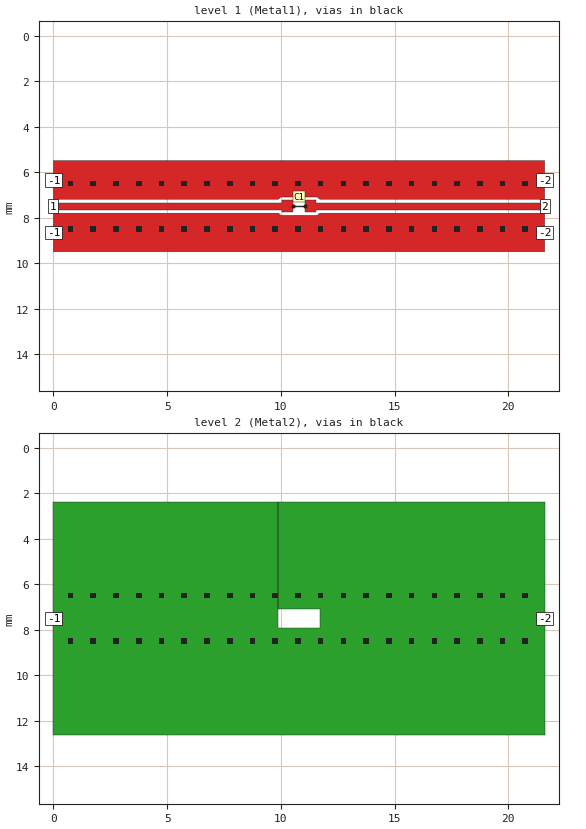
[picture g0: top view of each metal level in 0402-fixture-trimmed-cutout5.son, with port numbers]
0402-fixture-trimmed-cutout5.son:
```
FTYP SONPROJ 19 ! Sonnet Project File
VER 18.01
HEADER
LIC antikernel2.1.51012 90e2ba8817c1 havequick azonenberg Level3Gold
DAT 09/22/2021 03:41:24
BUILT_BY_CREATED dxf 17.52.2 05/01/2020 05:35:06
BUILT_BY_SAVED sonnet 18.01
MDATE 09/22/2021 03:41:24
HDATE 09/22/2021 03:41:24
ANN Created by dxfgeo, Sonnet Software Inc.
END HEADER
DIM
ANG DEG
CAP PF
CON /OH
FREQ GHZ
IND NH
LNG MM
RES OH
END DIM
CONTROL
VARSWP
OPTIONS  -dj
SPEED 1
CACHE_ABS 1
Q_ACC N
END CONTROL
GEO
SYM
DRP1 LEFT NONE 2
DRP1 RIGHT NONE 2
TMET "Free Space" 0 FREESPACE 376.7303136 0 0 0
BMET "Free Space" 0 FREESPACE 376.7303136 0 0 0
MET "Copper 1oz thick" 2 TMM 58000000 0.5 0.035 2
MET "Nickel " 3 TMM 14300000 0.5 3.5e-05 2
MET "Copper 0.5oz" 1 NOR 58000000 0.5 0.0175 
MET "Unknown_metal" 1 NOR INF 0.5 0 
MET "Copper 0.25mm thick" 4 TMM 58000000 0.5 0.25 2
MET "Brass 0.8mm" 11 TMM 15700000 0.5 0.8 2
MET "Unknown_metal" 1 VOL INF 0
BRI "Alumina (96%)" 0 9.4 0.0004 0 
BRI "Alumina (99.5%)" 0 9.9 0.0001 0 
BRI "Aluminum Nitride" 0 8.6 0.0003 0 
BRI "Arlon 25FR" 0 3.58 0.0035 0 
BRI "Arlon 25N" 0 3.38 0.0025 0 
BRI "Arlon AD5" 0 5.1 0.003 0 
BRI "Arlon AD10" 0 10.2 0.005 0 
BRI "Arlon AD250" 0 2.5 0.0018 0 
BRI "Arlon AD255A" 0 2.55 0.0015 0 
BRI "Arlon AD260A" 0 2.6 0.0018 0 
BRI "Arlon AD270" 0 2.7 0.0023 0 
BRI "Arlon AD300A" 0 3 0.002 0 
BRI "Arlon AD320A" 0 3.2 0.0032 0 
BRI "Arlon AD350A" 0 3.5 0.003 0 
BRI "Arlon AD410" 0 4.1 0.003 0 
BRI "Arlon AD430" 0 4.3 0.003 0 
BRI "Arlon AD450" 0 4.5 0.0035 0 
BRI "Arlon AD600" 0 6.15 0.003 0 
BRI "Arlon AD1000" 0 10.2 0.0023 0 
BRI "Arlon AR1000" 0 9.8 0.003 0 
BRI "Arlon CLTE" 0 2.96 0.0023 0 
BRI "Arlon CLTE-AT" 0 3 0.0013 0 
BRI "Arlon CLTE-P" 0 2.94 0.0025 0 
BRI "Arlon CLTE-XT" 0 2.94 0.0012 0 
BRI "Arlon Cu 217LX" 0 2.17 0.0009 0 
BRI "Arlon Cu 233LX" 0 2.33 0.0013 0 
BRI "Arlon Cu 250GT" 0 2.5 0.001 0 
BRI "Arlon Cu 250GX" 0 2.5 0.0018 0 
BRI "Arlon Cu 6250" 0 2.32 0.0013 0 
BRI "Arlon Cu 6700" 0 2.35 0.0025 0 
BRI "Arlon Di 522" 0 2.5 0.001 0 
BRI "Arlon Di 527" 0 2.5 0.0018 0 
BRI "Arlon Di 870" 0 2.33 0.0013 0 
BRI "Arlon Di 880" 0 2.17 0.0009 0 
BRI "Arlon Iso 917" 0 2.17 0.0013 0 
BRI "Arlon Iso 933" 0 2.33 0.0016 0 
BRI "Arlon Multi HF" 0 3.7 0.004 0 
BRI "Arlon TC350" 0 3.5 0.002 0 
BRI "Arlon TC600" 0 6.15 0.002 0 
BRI "Beryllia (99.5%)" 0 6.5 0.0004 0 
BRI "CEM-1" 0 4.5 0.02 0 
BRI "CEM-3" 0 4.5 0.02 0 
BRI "Dupont 9K7" 0 7.1 0.0012 0 
BRI "Dupont 943" 0 7.4 0.002 0 
BRI "Dupont 951" 0 7.8 0.006 0 
BRI "Dupont FEP" 0 2 0.0005 0 
BRI "Dupont Vacrel" 0 3.8 0.011 0 
BRI "ESL 41010" 0 7.5 0.005 0 
BRI "ESL 41020" 0 7.25 0.005 0 
BRI "ESL 41050" 0 13.5 0.002 0 
BRI "ESL 41060" 0 16.5 0.002 0 
BRI "ESL 41110" 0 4.5 0.004 0 
BRI "Ferro A6M" 0 5.9 0.002 0 
BRI "Ferro A6S" 0 5.9 0.002 0 
BRI "Ferro L8" 0 7.3 0.0018 0 
BRI "FR-4" 0 4.4 0.02 0 
BRI "G-10" 0 4.8 0.025 0 
BRI "Gallium Arsenide" 0 12.9 0.006 0 
BRI "Gallium Nitride" 0 9.7 0 0 
BRI "Glass (Pyrex)" 0 4.82 0.0054 0 
BRI "Heraeus HL2000" 0 7.3 0.0026 0 
BRI "Isola 370HR" 0 4.04 0.021 0 
BRI "Isola FR408" 0 3.77 0.0116 0 
BRI "Isola FR408HR" 0 3.68 0.0092 0 
BRI "Isola Getek" 0 3.6 0.01 0 
BRI "Isola GI-180" 0 3.7 0.013 0 
BRI "Isola IS415" 0 3.82 0.0125 0 
BRI "Isola IS620i" 0 3.58 0.006 0 
BRI "Isola IS680-280" 0 2.8 0.0025 0 
BRI "Isola IS680-300" 0 3 0.003 0 
BRI "Isola IS680-320" 0 3.2 0.003 0 
BRI "Isola IS680-333" 0 3.33 0.003 0 
BRI "Isola IS680-338" 0 3.38 0.0032 0 
BRI "Isola IS680-345" 0 3.45 0.0036 0 
BRI "Kerafol CT800" 0 5.3 0.008 0 
BRI "Nelco MW9350" 0 3.7 0.004 0 
BRI "Nelco N4000-12" 0 3.7 0.008 0 
BRI "Nelco N4000-13" 0 3.7 0.009 0 
BRI "Nelco N4000-13SI" 0 3.2 0.007 0 
BRI "Nelco N4000-13EP" 0 3.7 0.008 0 
BRI "Nelco N4350-13RF" 0 3.5 0.0065 0 
BRI "Nelco N4380-13RF" 0 3.8 0.007 0 
BRI "Nelco N9300-13RF" 0 3 0.004 0 
BRI "Nelco N9320-13RF" 0 3.2 0.0045 0 
BRI "Nelco N9338-13RF" 0 3.38 0.0046 0 
BRI "Nelco N9350-13RF" 0 3.48 0.0055 0 
BRI "Nelco NH9294" 0 2.94 0.0022 0 
BRI "Nelco NH9300" 0 3 0.0023 0 
BRI "Nelco NH9320" 0 3.2 0.0024 0 
BRI "Nelco NH9338" 0 3.38 0.0025 0 
BRI "Nelco NH9348" 0 3.48 0.003 0 
BRI "Nelco NH9350" 0 3.5 0.003 0 
BRI "Nelco NH9410" 0 4.1 0.003 0 
BRI "Nelco NH9450" 0 4.5 0.003 0 
BRI "Nelco NX9240" 0 2.4 0.0016 0 
BRI "Nelco NX9245" 0 2.45 0.0016 0 
BRI "Nelco NX9250" 0 2.5 0.0017 0 
BRI "Nelco NX9255" 0 2.55 0.0018 0 
BRI "Nelco NX9260" 0 2.6 0.0019 0 
BRI "Nelco NY9208" 0 2.08 0.0006 0 
BRI "Nelco NY9217" 0 2.17 0.0008 0 
BRI "Nelco NY9220" 0 2.2 0.0009 0 
BRI "Nelco NY9233" 0 2.33 0.0011 0 
BRI "PET" 0 3.37 0.0208 0 
BRI "Polyimide" 0 3.5 0.003 0 
BRI "Quartz (Fused)" 0 3.78 0.0001 0 
BRI "Rogers 3001" 0 2.28 0.003 0 
BRI "Rogers RO2808" 0 7.6 0.0015 0 
BRI "Rogers RO3003" 0 3 0.0013 0 
BRI "Rogers RO3006" 0 6.5 0.002 0 
BRI "Rogers RO3010" 0 11.2 0.0022 0 
BRI "Rogers RO3035" 0 3.6 0.0018 0 
BRI "Rogers RO3203" 0 3.02 0.0016 0 
BRI "Rogers RO3206" 0 6.6 0.0027 0 
BRI "Rogers RO3210" 0 10.8 0.0027 0 
BRI "Rogers RO3730" 0 3 0.0016 0 
BRI "Rogers RO4003C" 0 3.55 0.0029 0 
BRI "Rogers RO4533" 0 3.45 0.0029 0 
BRI "Rogers RO4534" 0 3.4 0.003 0 
BRI "Rogers RO4350B" 0 3.66 0.0037 0 
BRI "Rogers RO4350BTX" 0 3.66 0.0034 0 
BRI "Rogers RO4360" 0 6.15 0.0038 0 
BRI "Rogers RO4450B-3.6" 0 3.3 0.0043 0 
BRI "Rogers RO4450B-4" 0 3.54 0.004 0 
BRI "Rogers RO4450F" 0 3.52 0.0041 0 
BRI "Rogers RO4730" 0 3 0.0033 0 
BRI "Rogers RT5870" 0 2.33 0.0012 0 
BRI "Rogers RT5880" 0 2.2 0.0009 0 
BRI "Rogers RT5880LZ" 0 1.96 0.0019 0 
BRI "Rogers RT6002" 0 2.94 0.0012 0 
BRI "Rogers RT6006" 0 6.15 0.0027 0 
BRI "Rogers RT6010LM" 0 10.9 0.0023 0 
BRI "Rogers RT6035HTC" 0 3.6 0.0013 0 
BRI "Rogers RT6202" 0 2.94 0.0015 0 
BRI "Rogers RT6202PR" 0 2.95 0.0015 0 
BRI "Rogers Syron7000" 0 3.4 0.0045 0 
BRI "Rogers Syron7100-2" 0 3.61 0.006 0 
BRI "Rogers Syron7100-4" 0 3.39 0.005 0 
BRI "Rogers Theta" 0 4.01 0.0118 0 
BRI "Rogers TMM 3" 0 3.39 0.002 0 
BRI "Rogers TMM 4" 0 4.5 0.002 0 
BRI "Rogers TMM 6" 0 6 0.0023 0 
BRI "Rogers TMM 10" 0 9.56 0.0022 0 
BRI "Rogers TMM 10i" 0 9.96 0.002 0 
BRI "Rogers UL2000" 0 2.5 0.0019 0 
BRI "Rogers UL3850" 0 3.05 0.0025 0 
BRI "Rogers UL3908" 0 2.9 0.0025 0 
BRI "Rogers XT8000" 0 3.34 0.0035 0 
BRI "Rogers XT8100-2" 0 3.54 0.0049 0 
BRI "Rogers XT8100-4" 0 3.32 0.0038 0 
BRI "Silicon (intrinsic)" 0 11.9 0.004 0.00044 
BRI "Silicon Dioxide" 0 3.9 0 0 
BRI "Silicon Nitride" 0 7.5 0 0 
BRI "Taconic CER-10" 0 10 0.0035 0 
BRI "Taconic FastFilm" 0 2.7 0.0012 0 
BRI "Taconic Fastrise-DS" 0 2.96 0.0018 0 
BRI "Taconic Fastrise27" 0 2.7 0.0014 0 
BRI "Taconic Fastrise77" 0 7.7 0.0034 0 
BRI "Taconic FEP" 0 2 0.0003 0 
BRI "Taconic RF-30" 0 3 0.0014 0 
BRI "Taconic RF-35" 0 3.5 0.0018 0 
BRI "Taconic RF-35A2" 0 3.5 0.0011 0 
BRI "Taconic RF-35P" 0 3.5 0.0025 0 
BRI "Taconic RF-41" 0 4.1 0.0038 0 
BRI "Taconic RF-43" 0 4.3 0.0033 0 
BRI "Taconic RF-45" 0 4.5 0.0037 0 
BRI "Taconic RF-60A" 0 6.15 0.0038 0 
BRI "Taconic RF-301" 0 2.97 0.0012 0 
BRI "Taconic TacBond HT" 0 2.35 0.0025 0 
BRI "Taconic TLA-6" 0 2.62 0.0012 0 
BRI "Taconic TLC-27" 0 2.75 0.003 0 
BRI "Taconic TLC-30" 0 3 0.003 0 
BRI "Taconic TLC-32" 0 3.2 0.003 0 
BRI "Taconic TLE-95" 0 2.95 0.0028 0 
BRI "Taconic TLF-34" 0 3.4 0.002 0 
BRI "Taconic TLF-35" 0 3.5 0.002 0 
BRI "Taconic TLP-3" 0 2.33 0.0009 0 
BRI "Taconic TLP-5" 0 2.2 0.0009 0 
BRI "Taconic TLP-5A" 0 2.17 0.0009 0 
BRI "Taconic TLT-0" 0 2.45 0.0006 0 
BRI "Taconic TLT-9" 0 2.5 0.0006 0 
BRI "Taconic TLT-8" 0 2.55 0.0006 0 
BRI "Taconic TLT-7" 0 2.6 0.0006 0 
BRI "Taconic TLT-6" 0 2.65 0.0006 0 
BRI "Taconic TLX-0" 0 2.45 0.0019 0 
BRI "Taconic TLX-9" 0 2.5 0.0019 0 
BRI "Taconic TLX-8" 0 2.55 0.0019 0 
BRI "Taconic TLX-7" 0 2.6 0.0019 0 
BRI "Taconic TLX-6" 0 2.65 0.0019 0 
BRI "Taconic TLY-3" 0 2.33 0.0009 0 
BRI "Taconic TLY-3F" 0 2.33 0.0009 0 
BRI "Taconic TLY-5" 0 2.2 0.0009 0 
BRI "Taconic TLY-5-L" 0 2.2 0.0009 0 
BRI "Taconic TLY-5A" 0 2.17 0.0009 0 
BRI "Taconic TLY-5A-L" 0 2.17 0.0009 0 
BRI "Taconic TPG-30" 0 3 0.0038 0 
BRI "Taconic TPG-32" 0 3.2 0.005 0 
BRI "Taconic TPG-35" 0 3.5 0.005 0 
BRI "Taconic TRF-41" 0 4.1 0.0035 0 
BRI "Taconic TRF-43" 0 4.3 0.0035 0 
BRI "Taconic TRF-45" 0 4.5 0.0035 0 
BRI "Taconic TSM-DS" 0 2.85 0.001 0 
BRI "Taconic TSM-DS3" 0 3 0.0011 0 
BRI "Taconic TSM-26" 0 2.6 0.0014 0 
BRI "Taconic TSM-29" 0 2.94 0.0013 0 
BRI "Taconic TSM-30" 0 3 0.0013 0 
BRI "Teflon (PTFE)" 0 2.08 0.0004 0 
BOX 3 21.6 15 1728 3000 20 0
      2 1 1 0 0 0 0 "Air"
      0.8 1 1 0 0 0 0 "Air"
      0.166 3.66 1 0.0037 0 0 0 "Rogers RO4350B"
      2 1 1 0 0 0 0 "Air"
TECHLAY VIA Via2 <UNSPECIFIED> -8 -65534 
VIA POLYGON
0 0 -1 N 2427 1 1 100 100 0 0 0 Y
TOLEVEL 1 RING NOCOVERS
END
END
TECHLAY METAL TopBridge <UNSPECIFIED> -7 -65534 
0 0 2 N 2347 1 1 100 100 0 0 0 Y
END
END
TECHLAY METAL Metal1 L1D0 -2 -65534 
1 0 0 N 2350 1 1 100 100 0 0 0 Y
END
END
TECHLAY METAL ConnBody <UNSPECIFIED> -6 -65534 
1 0 5 N 2358 1 1 100 100 0 0 0 Y
END
END
TECHLAY METAL CenterPin <UNSPECIFIED> -5 -65534 
1 0 4 N 2360 1 1 100 100 0 0 0 Y
END
END
TECHLAY VIA Via1 L3D0 -4 -65534 
VIA POLYGON
2 0 -1 N 2430 1 1 100 100 0 0 0 Y
TOLEVEL 1 RING NOCOVERS
END
END
TECHLAY METAL Metal2 L2D0 -3 -65534 
2 0 2 N 2367 1 1 100 100 0 0 0 Y
END
END
VALVAR BOTLEN LNG 2 "Dim. Param."
VALVAR TOPLEN LNG 3 "Dim. Param."
LORGN 0 15 U 
POR1 BOX
POLY 2013 1
3
1 50 0 0 0 0 7.497885 
POR1 BOX
POLY 2018 1
1
2 50 0 0 0 21.6 7.497885 
POR1 BOX
POLY 2043 1
1
-1 50 0 0 0 0 6.345385 
POR1 BOX
POLY 2043 1
36
-2 50 0 0 0 21.6 6.345385 
POR1 BOX
POLY 2082 1
1
-1 50 0 0 0 0 8.654615 
POR1 BOX
POLY 2082 1
36
-2 50 0 0 0 21.6 8.654615 
POR1 BOX
POLY 2120 1
8
-1 50 0 0 0 0 7.5 
POR1 BOX
POLY 2120 1
10
-2 50 0 0 0 21.6 7.5 
SMD 1 "C1"
ID 2037
GNDREF FLOAT
DRP1 LEFT NONE 0.5
DRP1 RIGHT NONE 0.5
SBOX 10.675 10.925 7.460385 7.535385
PBSHW N
LPOS 10.8 7.460385
TYPE SPARAM 1
SMDP 1 10.55 7.497885 L 3 1 
EXSMDP
GNDREF FLOAT
TERMW FEED
END EXSMDP
SMDP 1 11.05 7.497885 R 4 2 
EXSMDP
GNDREF FLOAT
TERMW FEED
END EXSMDP
END
NUM 47
1 9 0 N 2013 1 1 100 100 0 0 0 Y
TLAYNAM Metal1 INH
USER_DAT FromImport
10.55 7.247885
10.05 7.247885
10.05 7.342885
0 7.342885
0 7.652885
10.05 7.652885
10.05 7.747885
10.55 7.747885
10.55 7.247885
END
1 9 0 N 2018 1 1 100 100 0 0 0 Y
TLAYNAM Metal1 INH
USER_DAT FromImport
11.55 7.652885
21.6 7.652885
21.6 7.342885
11.55 7.342885
11.55 7.247885
11.05 7.247885
11.05 7.747885
11.55 7.747885
11.55 7.652885
END
1 38 0 N 2043 1 1 100 100 0 0 0 Y
TLAYNAM Metal1 INH
USER_DAT FromImport
21.6 5.497885
0 5.497885
0 7.192885
9.87 7.192885
9.884 7.190885
9.891 7.188885
9.898 7.185885
9.905 7.181885
9.911 7.177885
9.916 7.173885
9.922 7.167885
9.93 7.157885
9.93 7.156885
9.945 7.139885
9.965 7.122885
9.99 7.109885
10.022 7.099885
10.046 7.096885
10.554 7.096885
10.579 7.099885
11.022 7.099885
11.046 7.096885
11.554 7.096885
11.579 7.099885
11.606 7.107885
11.632 7.121885
11.654 7.139885
11.674 7.162885
11.678 7.167885
11.684 7.173885
11.689 7.177885
11.695 7.181885
11.702 7.185885
11.709 7.188885
11.716 7.190885
11.73 7.192885
21.6 7.192885
21.6 5.497885
END
1 38 0 N 2082 1 1 100 100 0 0 0 Y
TLAYNAM Metal1 INH
USER_DAT FromImport
21.6 9.502115
0 9.502115
0 7.807115
9.87 7.807115
9.884 7.809115
9.891 7.811115
9.898 7.814115
9.905 7.818115
9.911 7.822115
9.916 7.826115
9.922 7.832115
9.93 7.842115
9.93 7.843115
9.945 7.860115
9.965 7.877115
9.99 7.890115
10.022 7.900115
10.046 7.903115
10.554 7.903115
10.579 7.900115
11.022 7.900115
11.046 7.903115
11.554 7.903115
11.579 7.900115
11.606 7.892115
11.632 7.878115
11.654 7.860115
11.674 7.837115
11.678 7.832115
11.684 7.826115
11.689 7.822115
11.695 7.818115
11.702 7.814115
11.709 7.811115
11.716 7.809115
11.73 7.807115
21.6 7.807115
21.6 9.502115
END
VIA POLYGON
2 5 -1 N 1321 1 1 100 100 0 0 0 Y
TOLEVEL 1 RING NOCOVERS
TLAYNAM Via1 INH
USER_DAT FromImport
10.625 8.622885
10.625 8.372885
10.875 8.372885
10.875 8.622885
10.625 8.622885
END
VIA POLYGON
2 5 -1 N 1322 1 1 100 100 0 0 0 Y
TOLEVEL 1 RING NOCOVERS
TLAYNAM Via1 INH
USER_DAT FromImport
10.625 6.622885
10.625 6.372885
10.875 6.372885
10.875 6.622885
10.625 6.622885
END
VIA POLYGON
2 5 -1 N 1371 1 1 100 100 0 0 0 Y
TOLEVEL 1 RING NOCOVERS
TLAYNAM Via1 INH
USER_DAT FromImport
11.625 8.622885
11.625 8.372885
11.875 8.372885
11.875 8.622885
11.625 8.622885
END
VIA POLYGON
2 5 -1 N 1372 1 1 100 100 0 0 0 Y
TOLEVEL 1 RING NOCOVERS
TLAYNAM Via1 INH
USER_DAT FromImport
11.625 6.622885
11.625 6.372885
11.875 6.372885
11.875 6.622885
11.625 6.622885
END
VIA POLYGON
2 5 -1 N 1373 1 1 100 100 0 0 0 Y
TOLEVEL 1 RING NOCOVERS
TLAYNAM Via1 INH
USER_DAT FromImport
12.625 6.622885
12.625 6.372885
12.875 6.372885
12.875 6.622885
12.625 6.622885
END
VIA POLYGON
2 5 -1 N 1374 1 1 100 100 0 0 0 Y
TOLEVEL 1 RING NOCOVERS
TLAYNAM Via1 INH
USER_DAT FromImport
13.625 6.622885
13.625 6.372885
13.875 6.372885
13.875 6.622885
13.625 6.622885
END
VIA POLYGON
2 5 -1 N 1375 1 1 100 100 0 0 0 Y
TOLEVEL 1 RING NOCOVERS
TLAYNAM Via1 INH
USER_DAT FromImport
14.625 6.622885
14.625 6.372885
14.875 6.372885
14.875 6.622885
14.625 6.622885
END
VIA POLYGON
2 5 -1 N 1376 1 1 100 100 0 0 0 Y
TOLEVEL 1 RING NOCOVERS
TLAYNAM Via1 INH
USER_DAT FromImport
15.625 6.622885
15.625 6.372885
15.875 6.372885
15.875 6.622885
15.625 6.622885
END
VIA POLYGON
2 5 -1 N 1377 1 1 100 100 0 0 0 Y
TOLEVEL 1 RING NOCOVERS
TLAYNAM Via1 INH
USER_DAT FromImport
16.625 6.622885
16.625 6.372885
16.875 6.372885
16.875 6.622885
16.625 6.622885
END
VIA POLYGON
2 5 -1 N 1378 1 1 100 100 0 0 0 Y
TOLEVEL 1 RING NOCOVERS
TLAYNAM Via1 INH
USER_DAT FromImport
17.625 6.622885
17.625 6.372885
17.875 6.372885
17.875 6.622885
17.625 6.622885
END
VIA POLYGON
2 5 -1 N 1379 1 1 100 100 0 0 0 Y
TOLEVEL 1 RING NOCOVERS
TLAYNAM Via1 INH
USER_DAT FromImport
18.625 6.622885
18.625 6.372885
18.875 6.372885
18.875 6.622885
18.625 6.622885
END
VIA POLYGON
2 5 -1 N 1380 1 1 100 100 0 0 0 Y
TOLEVEL 1 RING NOCOVERS
TLAYNAM Via1 INH
USER_DAT FromImport
19.625 6.622885
19.625 6.372885
19.875 6.372885
19.875 6.622885
19.625 6.622885
END
VIA POLYGON
2 5 -1 N 1381 1 1 100 100 0 0 0 Y
TOLEVEL 1 RING NOCOVERS
TLAYNAM Via1 INH
USER_DAT FromImport
20.625 6.622885
20.625 6.372885
20.875 6.372885
20.875 6.622885
20.625 6.622885
END
VIA POLYGON
2 5 -1 N 1384 1 1 100 100 0 0 0 Y
TOLEVEL 1 RING NOCOVERS
TLAYNAM Via1 INH
USER_DAT FromImport
12.625 8.622885
12.625 8.372885
12.875 8.372885
12.875 8.622885
12.625 8.622885
END
VIA POLYGON
2 5 -1 N 1385 1 1 100 100 0 0 0 Y
TOLEVEL 1 RING NOCOVERS
TLAYNAM Via1 INH
USER_DAT FromImport
13.625 8.622885
13.625 8.372885
13.875 8.372885
13.875 8.622885
13.625 8.622885
END
VIA POLYGON
2 5 -1 N 1386 1 1 100 100 0 0 0 Y
TOLEVEL 1 RING NOCOVERS
TLAYNAM Via1 INH
USER_DAT FromImport
14.625 8.622885
14.625 8.372885
14.875 8.372885
14.875 8.622885
14.625 8.622885
END
VIA POLYGON
2 5 -1 N 1387 1 1 100 100 0 0 0 Y
TOLEVEL 1 RING NOCOVERS
TLAYNAM Via1 INH
USER_DAT FromImport
15.625 8.622885
15.625 8.372885
15.875 8.372885
15.875 8.622885
15.625 8.622885
END
VIA POLYGON
2 5 -1 N 1388 1 1 100 100 0 0 0 Y
TOLEVEL 1 RING NOCOVERS
TLAYNAM Via1 INH
USER_DAT FromImport
16.625 8.622885
16.625 8.372885
16.875 8.372885
16.875 8.622885
16.625 8.622885
END
VIA POLYGON
2 5 -1 N 1389 1 1 100 100 0 0 0 Y
TOLEVEL 1 RING NOCOVERS
TLAYNAM Via1 INH
USER_DAT FromImport
17.625 8.622885
17.625 8.372885
17.875 8.372885
17.875 8.622885
17.625 8.622885
END
VIA POLYGON
2 5 -1 N 1390 1 1 100 100 0 0 0 Y
TOLEVEL 1 RING NOCOVERS
TLAYNAM Via1 INH
USER_DAT FromImport
18.625 8.622885
18.625 8.372885
18.875 8.372885
18.875 8.622885
18.625 8.622885
END
VIA POLYGON
2 5 -1 N 1391 1 1 100 100 0 0 0 Y
TOLEVEL 1 RING NOCOVERS
TLAYNAM Via1 INH
USER_DAT FromImport
19.625 8.622885
19.625 8.372885
19.875 8.372885
19.875 8.622885
19.625 8.622885
END
VIA POLYGON
2 5 -1 N 1392 1 1 100 100 0 0 0 Y
TOLEVEL 1 RING NOCOVERS
TLAYNAM Via1 INH
USER_DAT FromImport
20.625 8.622885
20.625 8.372885
20.875 8.372885
20.875 8.622885
20.625 8.622885
END
VIA POLYGON
2 5 -1 N 1483 1 1 100 100 0 0 0 Y
TOLEVEL 1 RING NOCOVERS
TLAYNAM Via1 INH
USER_DAT FromImport
0.625 8.622885
0.625 8.372885
0.875 8.372885
0.875 8.622885
0.625 8.622885
END
VIA POLYGON
2 5 -1 N 1484 1 1 100 100 0 0 0 Y
TOLEVEL 1 RING NOCOVERS
TLAYNAM Via1 INH
USER_DAT FromImport
1.625 8.622885
1.625 8.372885
1.875 8.372885
1.875 8.622885
1.625 8.622885
END
VIA POLYGON
2 5 -1 N 1485 1 1 100 100 0 0 0 Y
TOLEVEL 1 RING NOCOVERS
TLAYNAM Via1 INH
USER_DAT FromImport
2.625 8.622885
2.625 8.372885
2.875 8.372885
2.875 8.622885
2.625 8.622885
END
VIA POLYGON
2 5 -1 N 1486 1 1 100 100 0 0 0 Y
TOLEVEL 1 RING NOCOVERS
TLAYNAM Via1 INH
USER_DAT FromImport
3.625 8.622885
3.625 8.372885
3.875 8.372885
3.875 8.622885
3.625 8.622885
END
VIA POLYGON
2 5 -1 N 1487 1 1 100 100 0 0 0 Y
TOLEVEL 1 RING NOCOVERS
TLAYNAM Via1 INH
USER_DAT FromImport
4.625 8.622885
4.625 8.372885
4.875 8.372885
4.875 8.622885
4.625 8.622885
END
VIA POLYGON
2 5 -1 N 1488 1 1 100 100 0 0 0 Y
TOLEVEL 1 RING NOCOVERS
TLAYNAM Via1 INH
USER_DAT FromImport
5.625 8.622885
5.625 8.372885
5.875 8.372885
5.875 8.622885
5.625 8.622885
END
VIA POLYGON
2 5 -1 N 1489 1 1 100 100 0 0 0 Y
TOLEVEL 1 RING NOCOVERS
TLAYNAM Via1 INH
USER_DAT FromImport
6.625 8.622885
6.625 8.372885
6.875 8.372885
6.875 8.622885
6.625 8.622885
END
VIA POLYGON
2 5 -1 N 1490 1 1 100 100 0 0 0 Y
TOLEVEL 1 RING NOCOVERS
TLAYNAM Via1 INH
USER_DAT FromImport
7.625 8.622885
7.625 8.372885
7.875 8.372885
7.875 8.622885
7.625 8.622885
END
VIA POLYGON
2 5 -1 N 1491 1 1 100 100 0 0 0 Y
TOLEVEL 1 RING NOCOVERS
TLAYNAM Via1 INH
USER_DAT FromImport
8.625 8.622885
8.625 8.372885
8.875 8.372885
8.875 8.622885
8.625 8.622885
END
VIA POLYGON
2 5 -1 N 1492 1 1 100 100 0 0 0 Y
TOLEVEL 1 RING NOCOVERS
TLAYNAM Via1 INH
USER_DAT FromImport
9.625 8.622885
9.625 8.372885
9.875 8.372885
9.875 8.622885
9.625 8.622885
END
VIA POLYGON
2 5 -1 N 1495 1 1 100 100 0 0 0 Y
TOLEVEL 1 RING NOCOVERS
TLAYNAM Via1 INH
USER_DAT FromImport
0.625 6.622885
0.625 6.372885
0.875 6.372885
0.875 6.622885
0.625 6.622885
END
VIA POLYGON
2 5 -1 N 1496 1 1 100 100 0 0 0 Y
TOLEVEL 1 RING NOCOVERS
TLAYNAM Via1 INH
USER_DAT FromImport
1.625 6.622885
1.625 6.372885
1.875 6.372885
1.875 6.622885
1.625 6.622885
END
VIA POLYGON
2 5 -1 N 1497 1 1 100 100 0 0 0 Y
TOLEVEL 1 RING NOCOVERS
TLAYNAM Via1 INH
USER_DAT FromImport
2.625 6.622885
2.625 6.372885
2.875 6.372885
2.875 6.622885
2.625 6.622885
END
VIA POLYGON
2 5 -1 N 1498 1 1 100 100 0 0 0 Y
TOLEVEL 1 RING NOCOVERS
TLAYNAM Via1 INH
USER_DAT FromImport
3.625 6.622885
3.625 6.372885
3.875 6.372885
3.875 6.622885
3.625 6.622885
END
VIA POLYGON
2 5 -1 N 1499 1 1 100 100 0 0 0 Y
TOLEVEL 1 RING NOCOVERS
TLAYNAM Via1 INH
USER_DAT FromImport
4.625 6.622885
4.625 6.372885
4.875 6.372885
4.875 6.622885
4.625 6.622885
END
VIA POLYGON
2 5 -1 N 1500 1 1 100 100 0 0 0 Y
TOLEVEL 1 RING NOCOVERS
TLAYNAM Via1 INH
USER_DAT FromImport
5.625 6.622885
5.625 6.372885
5.875 6.372885
5.875 6.622885
5.625 6.622885
END
VIA POLYGON
2 5 -1 N 1501 1 1 100 100 0 0 0 Y
TOLEVEL 1 RING NOCOVERS
TLAYNAM Via1 INH
USER_DAT FromImport
6.625 6.622885
6.625 6.372885
6.875 6.372885
6.875 6.622885
6.625 6.622885
END
VIA POLYGON
2 5 -1 N 1502 1 1 100 100 0 0 0 Y
TOLEVEL 1 RING NOCOVERS
TLAYNAM Via1 INH
USER_DAT FromImport
7.625 6.622885
7.625 6.372885
7.875 6.372885
7.875 6.622885
7.625 6.622885
END
VIA POLYGON
2 5 -1 N 1503 1 1 100 100 0 0 0 Y
TOLEVEL 1 RING NOCOVERS
TLAYNAM Via1 INH
USER_DAT FromImport
8.625 6.622885
8.625 6.372885
8.875 6.372885
8.875 6.622885
8.625 6.622885
END
VIA POLYGON
2 5 -1 N 1504 1 1 100 100 0 0 0 Y
TOLEVEL 1 RING NOCOVERS
TLAYNAM Via1 INH
USER_DAT FromImport
9.625 6.622885
9.625 6.372885
9.875 6.372885
9.875 6.622885
9.625 6.622885
END
2 12 2 N 2120 1 1 100 100 0 0 0 Y
TLAYNAM Metal2 INH
USER_DAT FromImport
21.6 2.37
9.875 2.37
9.875 7.09
11.725 7.09
11.725 7.9
9.875 7.9
9.875 7.09
9.875 2.37
0 2.37
0 12.63
21.6 12.63
21.6 2.37
END
END GEO
OPT
MAX 100
END OPT
VARSWP
ENABLED Y
FREQ N AN SWEEP 1.0 30.0 1.0
FREQ Y AY ABS_ENTRY 0.4 30.0 -1 300 
END
END VARSWP
SMDFILES
1 "../../../../../../../bulk/datasheets/ATC/560l.s2p"
END SMDFILES
```
